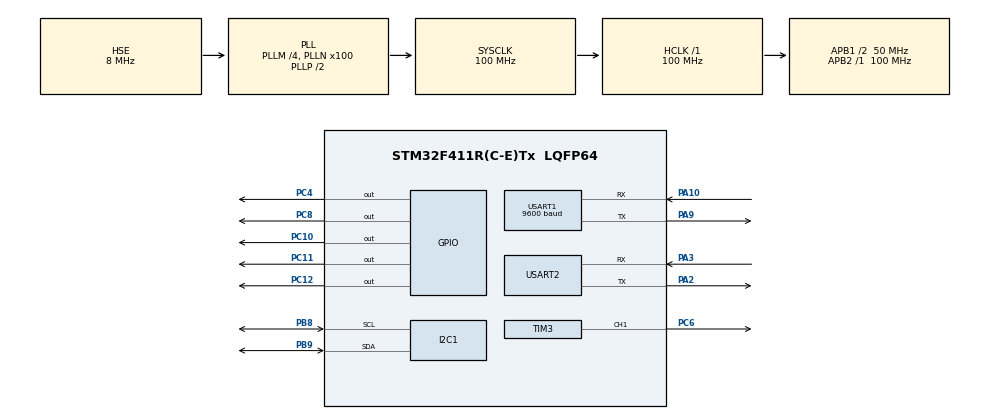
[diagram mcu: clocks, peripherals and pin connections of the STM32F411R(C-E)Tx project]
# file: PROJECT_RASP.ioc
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Mcu.Family=STM32F4
Mcu.Name=STM32F411R(C-E)Tx
Mcu.Package=LQFP64
NVIC.PriorityGroup=NVIC_PRIORITYGROUP_4
NVIC.USART1_IRQn=true\:0\:0\:false\:false\:true\:true\:true\:true
NVIC.USART2_IRQn=true\:0\:0\:false\:false\:true\:true\:true\:true
PA10.Mode=Asynchronous
PA10.Signal=USART1_RX
PA13.Mode=Serial_Wire
PA13.Signal=SYS_JTMS-SWDIO
PA14.Mode=Serial_Wire
PA14.Signal=SYS_JTCK-SWCLK
PA2.Mode=Asynchronous
PA2.Signal=USART2_TX
PA3.Mode=Asynchronous
PA3.Signal=USART2_RX
PA9.Mode=Asynchronous
PA9.Signal=USART1_TX
PB8.Mode=I2C
PB8.Signal=I2C1_SCL
PB9.Mode=I2C
PB9.Signal=I2C1_SDA
PC10.Signal=GPIO_Output
PC11.Signal=GPIO_Output
PC12.Signal=GPIO_Output
PC4.Signal=GPIO_Output
PC6.Signal=S_TIM3_CH1
PC8.Signal=GPIO_Output
PH0\ -\ OSC_IN.Mode=HSE-External-Oscillator
PH0\ -\ OSC_IN.Signal=RCC_OSC_IN
PH1\ -\ OSC_OUT.Mode=HSE-External-Oscillator
PH1\ -\ OSC_OUT.Signal=RCC_OSC_OUT
ProjectManager.HeapSize=0x200
ProjectManager.StackSize=0x400
ProjectManager.TargetToolchain=STM32CubeIDE
RCC.48MHZClocksFreq_Value=50000000
RCC.AHBFreq_Value=100000000
RCC.APB1CLKDivider=RCC_HCLK_DIV2
RCC.APB1Freq_Value=50000000
RCC.APB1TimFreq_Value=100000000
RCC.APB2Freq_Value=100000000
RCC.APB2TimFreq_Value=100000000
RCC.CortexFreq_Value=100000000
RCC.HCLKFreq_Value=100000000
RCC.HSE_VALUE=8000000
RCC.HSI_VALUE=16000000
RCC.LSE_VALUE=32768
RCC.PLLM=4
RCC.PLLN=100
RCC.PLLSourceVirtual=RCC_PLLSOURCE_HSE
RCC.SYSCLKFreq_VALUE=100000000
RCC.SYSCLKSource=RCC_SYSCLKSOURCE_PLLCLK
RCC.VCOOutputFreq_Value=200000000
SH.S_TIM3_CH1.0=TIM3_CH1,PWM Generation1 CH1
TIM10.Prescaler=100-1
TIM11.Prescaler=100-1
TIM3.Channel-PWM\ Generation1\ CH1=TIM_CHANNEL_1
TIM3.Period=100-1
TIM3.Prescaler=100-1
USART1.BaudRate=9600
USART1.VirtualMode=VM_ASYNC
USART2.VirtualMode=VM_ASYNC
VP_TIM10_VS_ClockSourceINT.Mode=Enable_Timer
VP_TIM11_VS_ClockSourceINT.Mode=Enable_Timer
board=custom

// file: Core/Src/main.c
/* USER CODE BEGIN Header */
/**
  ******************************************************************************
  * @file           : main.c
  * @brief          : Main program body
  ******************************************************************************
  * @attention
  *
  * Copyright (c) 2025 STMicroelectronics.
  * All rights reserved.
  *
  * This software is licensed under terms that can be found in the LICENSE file
  * in the root directory of this software component.
  * If no LICENSE file comes with this software, it is provided AS-IS.
  *
  ******************************************************************************
  */
/* USER CODE END Header */
#include "main.h"
#include "i2c.h"
#include "tim.h"
#include "usart.h"
#include "gpio.h"

/* USER CODE BEGIN Includes */

#include <string.h>
#include <stdint.h>
#include <stdio.h>

#include "dht11.h"
#include "i2c_lcd.h"
#include "rgb.h"
#include "dot.h"
/* USER CODE END Includes */

/* USER CODE BEGIN PD */

#ifdef __GNUC__
/* With GCC small printf (option LD Linker->Libraries->Small printf
 * set to 'Yes') calls __io_putchar() */
#define PUTCHAR_PROTOTYPE int  __io_putchar(int ch)
#else
#define PUTCHAR_PROTOTYPE int  fputc(int ch, FILE *f)
#endif /* __GNUC__*/

/** @brief Retargets the C library printf function to the USART.
 *  @param None
 *  @retval None
 */
PUTCHAR_PROTOTYPE
{
  /* Place your implementation of fputc here */
  /* e.g. write a character to the USART2 and Loop
     until the end of transmission */
  if(ch == '\n')
    HAL_UART_Transmit(&huart2, (uint8_t*) "\r", 1, 0xFFFF);
    HAL_UART_Transmit(&huart2, (uint8_t*) &ch, 1, 0xFFFF);
}

/* USER CODE END PD */

/* USER CODE BEGIN PV */

extern TIM_HandleTypeDef htim10;  // TIM10 핸들
extern TIM_HandleTypeDef htim11;  // TIM11 핸들
extern TIM_HandleTypeDef htim3;

DHT11 dht_indoor;
DHT11 dht_outdoor;
char msg[50];
char lcd_line1[16];
char lcd_line2[16];

uint32_t last_sensor_time = 0;
uint8_t *current_pattern = blank;
/* USER CODE END PV */

void SystemClock_Config(void);
/* USER CODE BEGIN PFP */

void MX_TIM3_Init(void);

/* USER CODE END PFP */

int main(void)
{

  /* MCU Configuration--------------------------------------------------------*/

  /* Reset of all peripherals, Initializes the Flash interface and the Systick. */
  HAL_Init();

  /* Configure the system clock */
  SystemClock_Config();

  /* Initialize all configured peripherals */
  MX_GPIO_Init();
  MX_USART1_UART_Init();
  MX_TIM11_Init();
  MX_USART2_UART_Init();
  MX_TIM10_Init();
  MX_I2C1_Init();
  MX_TIM3_Init();
  /* USER CODE BEGIN 2 */

  dht11Init(&dht_indoor, GPIOC, GPIO_PIN_4, &htim11);
  dht11Init(&dht_outdoor, GPIOC, GPIO_PIN_8, &htim10);
  i2c_lcd_init();

  HAL_TIM_PWM_Start(&htim3, TIM_CHANNEL_1);
  TIM3->CCR1 = 0;
  /* USER CODE END 2 */

  /* Infinite loop */
  /* USER CODE BEGIN WHILE */
  while (1)
  {

  	if (dht11Read(&dht_indoor))
  	{
  		sprintf(msg, "IN: %d,%d\n", dht_indoor.temperature, dht_indoor.humidity);
  		HAL_UART_Transmit(&huart1, (uint8_t *)msg, strlen(msg), 1000);
  		sprintf(lcd_line1, "IN =T:%dC H:%d%%", dht_indoor.temperature, dht_indoor.humidity);
  		if (dht_indoor.temperature >= 30)
				{
					LED_R_ON();
  				TIM3->CCR1 = 100;
				}
  		if (dht_indoor.temperature <= 29)
				{
  				LED_R_OFF();
  				TIM3->CCR1 = 0;

				}
  	}
  		else
  		{
  			HAL_UART_Transmit(&huart1, (uint8_t *)"IN_ERR\n", 7, 1000);
  			sprintf(lcd_line1, "IN=ERROR");
  		}
  			HAL_Delay(500); // 센서 간 간격

  		// 외부 센서 데이터 전송
  	if (dht11Read(&dht_outdoor))
  	{
  		sprintf(msg, "OUT: %d,%d\n", dht_outdoor.temperature, dht_outdoor.humidity);
  		HAL_UART_Transmit(&huart1, (uint8_t *)msg, strlen(msg), 1000);
  		sprintf(lcd_line2, "OUT=T:%dC H:%d%%", dht_outdoor.temperature, dht_outdoor.humidity);
  	}
  		else
  		{
  			HAL_UART_Transmit(&huart1, (uint8_t *)"OUT_ERR\n", 8, 1000);
  			sprintf(lcd_line2, "OUT=ERROR");
  		}
			move_cursor(0, 0);
			lcd_string(lcd_line1);
			move_cursor(1, 0);
			lcd_string(lcd_line2);

			HAL_Delay(2000);

    /* USER CODE END WHILE */

  }
}

void SystemClock_Config(void)
{
  RCC_OscInitTypeDef RCC_OscInitStruct = {0};
  RCC_ClkInitTypeDef RCC_ClkInitStruct = {0};

  /** Configure the main internal regulator output voltage
  */
  __HAL_RCC_PWR_CLK_ENABLE();
  __HAL_PWR_VOLTAGESCALING_CONFIG(PWR_REGULATOR_VOLTAGE_SCALE1);

  /** Initializes the RCC Oscillators according to the specified parameters
  * in the RCC_OscInitTypeDef structure.
  */
  RCC_OscInitStruct.OscillatorType = RCC_OSCILLATORTYPE_HSE;
  RCC_OscInitStruct.HSEState = RCC_HSE_ON;
  RCC_OscInitStruct.PLL.PLLState = RCC_PLL_ON;
  RCC_OscInitStruct.PLL.PLLSource = RCC_PLLSOURCE_HSE;
  RCC_OscInitStruct.PLL.PLLM = 4;
  RCC_OscInitStruct.PLL.PLLN = 100;
  RCC_OscInitStruct.PLL.PLLP = RCC_PLLP_DIV2;
  RCC_OscInitStruct.PLL.PLLQ = 4;
  if (HAL_RCC_OscConfig(&RCC_OscInitStruct) != HAL_OK)
  {
    Error_Handler();
  }

  /** Initializes the CPU, AHB and APB buses clocks
  */
  RCC_ClkInitStruct.ClockType = RCC_CLOCKTYPE_HCLK|RCC_CLOCKTYPE_SYSCLK
                              |RCC_CLOCKTYPE_PCLK1|RCC_CLOCKTYPE_PCLK2;
  RCC_ClkInitStruct.SYSCLKSource = RCC_SYSCLKSOURCE_PLLCLK;
  RCC_ClkInitStruct.AHBCLKDivider = RCC_SYSCLK_DIV1;
  RCC_ClkInitStruct.APB1CLKDivider = RCC_HCLK_DIV2;
  RCC_ClkInitStruct.APB2CLKDivider = RCC_HCLK_DIV1;

  if (HAL_RCC_ClockConfig(&RCC_ClkInitStruct, FLASH_LATENCY_3) != HAL_OK)
  {
    Error_Handler();
  }
}

void Error_Handler(void)
{
  __disable_irq();
  while (1)
  {
  }
}
